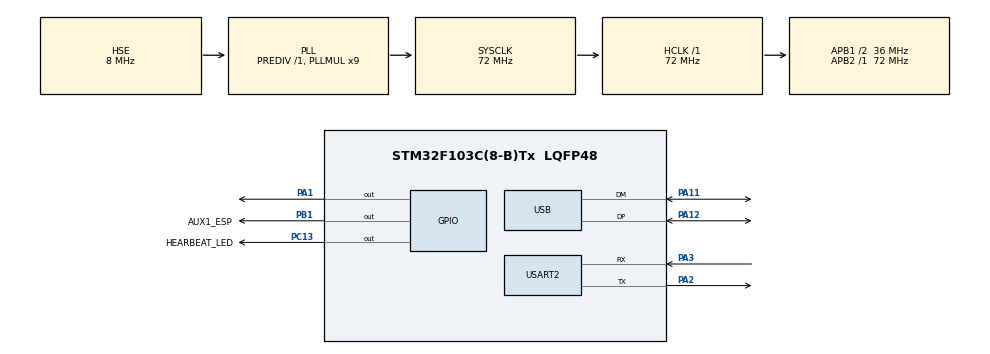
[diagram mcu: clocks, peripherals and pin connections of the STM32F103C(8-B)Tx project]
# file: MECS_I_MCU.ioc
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Mcu.Family=STM32F1
Mcu.Name=STM32F103C(8-B)Tx
Mcu.Package=LQFP48
NVIC.PriorityGroup=NVIC_PRIORITYGROUP_4
NVIC.TIM2_IRQn=true\:0\:0\:false\:false\:true\:true\:true\:true
NVIC.USART2_IRQn=true\:0\:0\:false\:false\:true\:true\:true\:true
NVIC.USB_LP_CAN1_RX0_IRQn=true\:0\:0\:false\:false\:true\:false\:true\:true
PA1.Signal=GPIO_Output
PA11.Mode=Device
PA11.Signal=USB_DM
PA12.Mode=Device
PA12.Signal=USB_DP
PA13.Mode=Serial_Wire
PA13.Signal=SYS_JTMS-SWDIO
PA14.Mode=Serial_Wire
PA14.Signal=SYS_JTCK-SWCLK
PA2.Mode=Asynchronous
PA2.Signal=USART2_TX
PA3.Mode=Asynchronous
PA3.Signal=USART2_RX
PB1.GPIO_Label=AUX1_ESP
PB1.Signal=GPIO_Output
PC13-TAMPER-RTC.GPIO_Label=HEARBEAT_LED
PC13-TAMPER-RTC.Signal=GPIO_Output
PC14-OSC32_IN.Mode=LSE-External-Oscillator
PC14-OSC32_IN.Signal=RCC_OSC32_IN
PC15-OSC32_OUT.Mode=LSE-External-Oscillator
PC15-OSC32_OUT.Signal=RCC_OSC32_OUT
PD0-OSC_IN.Mode=HSE-External-Oscillator
PD0-OSC_IN.Signal=RCC_OSC_IN
PD1-OSC_OUT.Mode=HSE-External-Oscillator
PD1-OSC_OUT.Signal=RCC_OSC_OUT
ProjectManager.HeapSize=0x200
ProjectManager.StackSize=0x400
ProjectManager.TargetToolchain=STM32CubeIDE
RCC.AHBFreq_Value=72000000
RCC.APB1CLKDivider=RCC_HCLK_DIV2
RCC.APB1Freq_Value=36000000
RCC.APB1TimFreq_Value=72000000
RCC.APB2Freq_Value=72000000
RCC.APB2TimFreq_Value=72000000
RCC.HCLKFreq_Value=72000000
RCC.PLLMUL=RCC_PLL_MUL9
RCC.SYSCLKFreq_VALUE=72000000
RCC.SYSCLKSource=RCC_SYSCLKSOURCE_PLLCLK
RCC.USBFreq_Value=48000000
RCC.USBPrescaler=RCC_USBCLKSOURCE_PLL_DIV1_5
TIM2.Period=18000
TIM3.Prescaler=72-1
USART2.VirtualMode=VM_ASYNC
USB_DEVICE.CLASS_NAME_FS=CDC
USB_DEVICE.VirtualMode=Cdc
USB_DEVICE.VirtualModeFS=Cdc_FS
VP_TIM2_VS_ClockSourceINT.Mode=Internal
VP_TIM3_VS_ClockSourceINT.Mode=Internal
VP_USB_DEVICE_VS_USB_DEVICE_CDC_FS.Mode=CDC_FS
board=custom

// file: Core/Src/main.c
/* USER CODE BEGIN Header */
/**
  ******************************************************************************
  * @file           : main.c
  * @author  		: A. Nahuel Medina
  * @brief          : Main program body
  ******************************************************************************
  * @attention
  *
  * Copyright (c) 2023 STMicroelectronics.
  * All rights reserved.
  *
  * This software is licensed under terms that can be found in the LICENSE file
  * in the root directory of this software component.
  * If no LICENSE file comes with this software, it is provided AS-IS.
  *
  ******************************************************************************
  */
/* USER CODE END Header */
#include "main.h"
#include "usb_device.h"

/* USER CODE BEGIN Includes */
#include "usbd_cdc_if.h"
#include "ESP01.h"

#include "util.h"
#include "delay_non_blocking.h"
#include "ONEWire.h"
#include "DS18B20.h"

/* USER CODE END Includes */

/* USER CODE BEGIN PTD */
typedef enum{
	INIT_DS18B20,
	CONFIG1_DS18B20,
	CONFI2_DS18B20,
	RESPONSE_DS18B20
} _eStart;
/* USER CODE END PTD */

TIM_HandleTypeDef htim2;
TIM_HandleTypeDef htim3;

UART_HandleTypeDef huart2;

/* USER CODE BEGIN PV */
/* COMUNICACION CODE BEGIN PV */
volatile _rx rxUSB;
_tx txUSB;
uint8_t bufUSB_Rx[256];
uint8_t bufUSB_Tx[256];
uint8_t bytes_to_send;

/*Comunicacion USART (comunicacion entre el micro y la ESP01)*/
volatile _rx rxUSART;
_tx txUSART;
uint8_t bufUSART_Rx[256];
uint8_t bufUSART_Tx[256];

/*Transmision desde el micro a la pc mediante WIFI*/
_tx txAUX;
uint8_t bufAUX_Tx[256];

_sESP01Handle ESP01Manager;
//Configuracion de valores para conexion UDP
// FACULTAD

const char SSID[]= "FCAL-Personal";
const char PASSWORD[]= "fcal-uner+2019";
const char RemoteIP[]="172.22.243.121";
uint16_t RemotePORT = 30010;
uint16_t LocalPORT = 30001;

//CASA
/*
const char SSID[]= "ANM2";
const char PASSWORD[]= "anm157523";
const char RemoteIP[]="192.168.0.14";
uint16_t RemotePORT = 30010;
uint16_t LocalPORT = 30001;
*/
/* COMUNICACION CODE EDN PV */

/* MANIPULACION DE DATOS Y BANDERAS CODE BEGIN PV */
uint8_t robotMode = IDLE;
_work w;
_flag flag1;
_flag flag2;

_delay_t  waitMode;

uint8_t countERRORS = 0;
int16_t lastTemp = 0;

uint32_t lastTick;
uint32_t elapsedTicks;
uint32_t elapsedTime_us;

//DS18B20
_sOWHandle ow0;
_sDS18B20Handle ds18b20_0;

int16_t tempDS18B20;
/* MANIPULACION DE DATOS Y BANDERAS CODE END PV */

/* HEARTBEAT CODE BEGIN PV */
uint32_t SECUENCE_LED_IDLE = MASK_IDLE;
uint32_t SECUENCE_LED_FOLLOW_LINE = MASK_FOLLOW_LINE;
uint8_t indexHb = 0;
/* HEARTBEAT CODE END PV */

/*Contador para TICKER 1MS*/
uint8_t time10ms;
uint8_t time100ms;
uint8_t time1seg;
uint8_t time2seg;
uint16_t time5seg;

/* VARIABLES ESPECIFICAS SEGUN COMANDO CODE BEGIN PV */
const char FIRMWAREVERSION[] = "20231007_0102";
/* VARIABLES ESPECIFICAS SEGUN COMANDO CODE END PV */
/* USER CODE END PV */

void SystemClock_Config(void);
static void MX_GPIO_Init(void);
static void MX_TIM2_Init(void);
static void MX_USART2_UART_Init(void);
static void MX_TIM3_Init(void);
/* USER CODE BEGIN PFP */

/* COMUNICACION CODE BEGIN PFP */
void OnUSBRx(uint8_t *buf, int length);
void DecodeHeader(_rx *RX, _tx *tx);                           	  //funcion que decodifica cabecera
void DecodeCMD(_rx *RX, _tx *tx);                                 //decodifica comando
void PutBufOnTx(_tx *TX, uint8_t *buf, uint8_t length);           //escribe datos en buffer de transmision
void PutByteOnTx(_tx *TX, uint8_t value);                         //escribe solo un valor en buffer de transmision
void PutHeaderOnTx(_tx *TX, uint8_t id, uint8_t lCmd);            //cabecera en buf de tx
void CalcAndPutCksOnTx(_tx *TX);                                  //calcula checksum
void PutStrOnTx(_tx *TX, const char *str);                        //escribe texto en buf de tx
uint8_t GetByteFromRx (_rx *RX, int8_t pre, int8_t pos);          //lee datos de buf de recepcion
void TransmitUSB();
void TransmitUSART();
/* COMUNICACION CODE END PFP */

/* SET LEDS CODE BEGIN PFP */
void setMode();
void hearbeatTask();
/* SET LEDS CODE END PFP */

/* ESP01 CODE BEGIN PFP */
void CHENState (uint8_t value);
int PutByteOnTxESP01(uint8_t value);
void GetESP01StateChange(_eESP01STATUS newState);
void GetESP01dbg(const char *dbgStr);
/* ESP01 CODE END PFP */

/* COMUNICACION CODE EDN PV */

/* DS18B20 CODE BEGIN PFP */

void Set_Pin_Output (GPIO_TypeDef *GPIOx, uint16_t GPIO_Pin);

void Set_Pin_Input (GPIO_TypeDef *GPIOx, uint16_t GPIO_Pin);

void OneWireSetPinInput(void);

void OneWireSerPinOutput(void);

uint8_t OneWireReadPin(void);

void OneWireWritePin(uint8_t value);

int delay_us(int us);

/* DS18B20 CODE END PFP */

/* USER CODE END PFP */

/* USER CODE BEGIN 0 */

void HAL_TIM_PeriodElapsedCallback(TIM_HandleTypeDef *htim){						//Timer 2 (Se da cada 250us = 42 * 500 / 84Mhz)
	if(htim->Instance == TIM2){
		time10ms--;
		if(!time10ms){
			IS10MS = 1;																//habilita la funcion On1ms() en el main, que maneja todos los tickers
			time10ms = 40;															// 250us * 4 = 1ms
		}
	}
}

void HAL_UART_RxCpltCallback(UART_HandleTypeDef *huart){

	ESP01_WriteRX(bufUSART_Rx[rxUSART.iw]);
	rxUSART.iw++;
	rxUSART.iw &= rxUSART.maskSize;									//Mantiene la circularidad del buffer
	HAL_UART_Receive_IT(&huart2, &rxUSART.buf[rxUSART.iw], 1);		//Lo recibido en el uart1, lo almaceno en rxUSART[], recibo de a 1 byte															//Permite que el procesador haga cosas mas importantes mientras el periferico del USART se encarga de la recepcion

}

void OnUSBRx(uint8_t *myBuf, int length){
	for(int i=0; i<length; i++){
	  	rxUSB.buf[rxUSB.iw++] = myBuf[i];			//Cargo el dato recibido en el USB en el buffer de recepcion USB
	  	rxUSB.iw &= rxUSB.maskSize;           	//Mantiene el buffer circular
	}
	DATAREADY = 1;
}

void DecodeHeader(_rx *RX, _tx *tx){												//Decodifico la cabecera de lo que llegue por USB
    uint8_t i;

    i = RX->iw;                         	//auxiliar para que no cambie valor del indice de escritura mientras recorro el buffer de recepcion

    while(RX->ir != i){
        switch(RX->header){
            case 0:
                if(RX->buf[RX->ir] == 'U'){
                    RX->header = 1;
                    RX->timeout = 5;
                }
            break;
            case 1:
                if(RX->buf[RX->ir] == 'N'){
                    RX->header = 2;
                } else {
                    RX->header = 0;
                    RX->ir--;
                }
            break;
            case 2:
                if(RX->buf[RX->ir] == 'E'){
                    RX->header = 3;
                } else {
                    RX->header = 0;
                    RX->ir--;
                }
            break;
            case 3:
                if(RX->buf[RX->ir] == 'R'){
                    RX->header = 4;
                } else {
                    RX->header = 0;
                    RX->ir--;
                }
            break;
            case 4: //length
                RX->nbytes = RX->buf[RX->ir];
                RX->header = 5;
                RX->nbytesdata = RX->buf[RX->ir]-2;
            break;
            case 5: //token
                if(RX->buf[RX->ir] == ':'){
                    RX->header = 6;
                    RX->iData = RX->ir + 1;     //indice a partir de donde se encuentran los datos del comando
                    RX->iData &= RX->maskSize;
                    RX->cks = 'U' ^ 'N' ^ 'E' ^ 'R' ^ RX->nbytes ^ ':';
                } else {
                    RX->header = 0;
                    RX->ir--;
                }
            break;
            case 6: //datos de comando
                RX->nbytes--;
                if(RX->nbytes > 0){
                    RX->cks ^= RX->buf[RX->ir];
                } else {
                    RX->header = 0;
                    if(RX->cks == RX->buf[RX->ir]) 		//llega al checksum
                        RX->ISCMD = 1;					//es un comando valido
                }
            break;
            default:
                RX->header = 0;
            break;
        }
        RX->ir &= RX->maskSize;
        RX->ir++;
        RX->ir &= RX->maskSize;
    }

}

void DecodeCMD(_rx *RX, _tx *tx){												//Decodifico el comando que llegue por USB
	RX->ISCMD = 0;

    switch(RX->buf[RX->iData]){                 //segun el comando enviado
        case 0xF0:  //ALIVE
            PutHeaderOnTx(tx, 0xF0, 2);
            PutByteOnTx(tx, 0x0D);
            CalcAndPutCksOnTx(tx);
            tx->length = 3;
            break;
        case 0xF1: //firmware
            PutHeaderOnTx(tx, 0xF1, strlen(FIRMWAREVERSION) + 1);
            PutStrOnTx(tx, FIRMWAREVERSION);
            CalcAndPutCksOnTx(tx);
            break;
        case 0xA0:
        	PutHeaderOnTx(tx, 0x12, 5);
        	w.i32 = elapsedTime_us;
        	PutByteOnTx(tx, w.u8[0]);
        	PutByteOnTx(tx, w.u8[1]);
        	PutByteOnTx(tx, w.u8[2]);
        	PutByteOnTx(tx, w.u8[3]);
        	CalcAndPutCksOnTx(tx);
        	break;
        default:
            PutHeaderOnTx(tx, RX->buf[RX->iData], 2);        //Devuelve 0xFF si hay un comando que no se interpretó
            PutByteOnTx(tx, 0xFF);
            CalcAndPutCksOnTx(tx);
        break;
    }
}

void PutBufOnTx(_tx *TX, uint8_t *buf, uint8_t length){								//Pongo buffer en Tx (Sirve para payload)
    uint8_t i;

    for(i=0; i < length; i++){
        TX->buf[TX->iw++] = buf[i];
        TX->iw &= TX->maskSize;
    }
}

void PutByteOnTx(_tx *TX, uint8_t value){											//Coloco byte en buffer de transmision
	TX->buf[TX->iw++] = value;
    TX->iw &= TX->maskSize;
}

void PutHeaderOnTx(_tx *TX, uint8_t id, uint8_t lCmd){								//Coloco cabecera hasta id en buffer de transmision
	TX->buf[TX->iw++] = 'U';
    TX->iw &= TX->maskSize;
    TX->buf[TX->iw++] = 'N';
    TX->iw &= TX->maskSize;
    TX->buf[TX->iw++] = 'E';
    TX->iw &= TX->maskSize;
    TX->buf[TX->iw++] = 'R';
    TX->iw &= TX->maskSize;
    TX->length = lCmd; //largo del comando
    TX->buf[TX->iw++] = lCmd + 1; // lCmd = ID + payload || 1 byte se le suma por el checksum
    TX->iw &= TX->maskSize;
    TX->buf[TX->iw++] = ':';
    TX->iw &= TX->maskSize;
    TX->buf[TX->iw++] = id;
    TX->iw &= TX->maskSize;
}

void CalcAndPutCksOnTx(_tx *TX){													//Calculo checksum y coloco en buffer de transmision
    uint8_t cks, i;

    //recorro el indice y voy guardando el cks
    cks = 0;
    i = TX->length +6;
    i = TX->iw-i;
    i &= TX->maskSize;
    while(i != TX->iw){
        cks ^= TX->buf[i++];
        i &= TX->maskSize;
    }

    TX->buf[TX->iw++] = cks;
    TX->iw &= TX->maskSize;
}

void PutStrOnTx(_tx *TX, const char *str){                  						//Coloco cadena de caracteres en buffer de transmision
    uint8_t i = 0;

    while(str[i]){
        TX->buf[TX->iw++] = str[i++];
        TX->iw &= TX->maskSize;
    }

}

uint8_t GetByteFromRx (_rx *RX, int8_t pre, int8_t pos){							//Obtengo payload del buffer de recepcion
    uint8_t aux;

    RX->iData += pre;
    RX->iData &= RX->maskSize;
    aux = RX->buf[RX->iData];
    RX->iData += pos;
    RX->iData &= RX->maskSize;

    return aux;
}

void TransmitUSB(){
	uint8_t freeBytes;

	freeBytes = 0;
	if(!AUX_USB){
	   freeBytes = 255 - txUSB.ir;							//Calculo cuanto mas puede avanzar mi indice de lectura para enviar el dato
	  AUX_USB = 1;
	}
	if((txUSB.length+7 <= freeBytes) && (bytes_to_send == 0)){	//Si en mi indice de lectura me da para mandar el largo del comando lo mando directo
	  if(USBD_OK == CDC_Transmit_FS(&txUSB.buf[txUSB.ir], txUSB.length+7)){//Envio dato
		  bytes_to_send = 0;											//Cantidad de datos que faltaron enviar
		  txUSB.ir = txUSB.iw;
		  AUX_USB = 0;
	  }
	}else{
	  if((txUSB.length+7 > freeBytes) && (bytes_to_send == 0)){//Si el largo de mi comando no entra en el indice de lectura envio por partes
		  if(USBD_OK == CDC_Transmit_FS(&txUSB.buf[txUSB.ir], freeBytes)){//Envio primera parte del dato
			  txUSB.ir += freeBytes;
			  bytes_to_send = (txUSB.length+7) - freeBytes;				//Cantidad de datos que faltaron enviar
		  }
	  }
	  if(bytes_to_send > 0){
		  if(USBD_OK == CDC_Transmit_FS(&txUSB.buf[txUSB.ir], bytes_to_send)){//Envio dato bytes_to_send que falto enviar
			  bytes_to_send = 0;											//Cantidad de datos que faltaron enviar
			  txUSB.ir = txUSB.iw;
			  AUX_USB = 0;
		  }
	  }
	}
}

void TransmitUSART(){
	uint16_t len;

	len = txUSART.iw - txUSART.ir;
	len &= 0x00FF;
	if(ESP01_Send(txUSART.buf, txUSART.ir, len, 256) == ESP01_SEND_READY)
		txUSART.ir = txUSART.iw;

}

void setMode(){
	if(STARTSTOP){
		STARTSTOP = 0;
		robotMode = IDLE;
		HEARBEAT_STATUS = 0;
	}else{
		STARTSTOP = 1;
		robotMode = FOLLOW_LINE;
		HEARBEAT_STATUS = 1;
	}
}

void hearbeatTask(){
	if(HEARBEAT_STATUS){
		HAL_GPIO_WritePin(HEARBEAT_LED_GPIO_Port, HEARBEAT_LED_Pin, SECUENCE_LED_IDLE & (1<<indexHb));
		indexHb++;
		if(indexHb >= 32){
			indexHb = 0;
		}
	}else{
		HAL_GPIO_WritePin(HEARBEAT_LED_GPIO_Port, HEARBEAT_LED_Pin, SECUENCE_LED_FOLLOW_LINE & (1<<indexHb));
		indexHb++;
		if(indexHb >= 32){
			indexHb = 0;
		}
	}
}

void On10ms(){	//ticker que indica cuando paso 10ms
	time5seg--;
	if(!time5seg){
		IS5SEG = 1;
		time5seg = 500;
	}

	time1seg--;
	if(!time1seg){
		IS1S = 1;
		time1seg = 100;
	}

	time2seg--;
		if(!time2seg){
			IS2SEG = 1;
			time2seg = 200;
		}

	time100ms--;
	if(!time100ms){
		IS100MS = 1;
		time100ms = 10;
		hearbeatTask();
	}

	ESP01_Timeout10ms();

}

void On5s(){	//ticker que indica cuando paso 5s

	PutHeaderOnTx(&txUSART, 0xF0, 2);
	PutByteOnTx(&txUSART, 0x0D);
	CalcAndPutCksOnTx(&txUSART);

	PutHeaderOnTx(&txUSART, 0xA1, 3);
	w.i16[0]= tempDS18B20;
	PutByteOnTx(&txUSART, w.u8[0]);
	PutByteOnTx(&txUSART, w.u8[1]);
	CalcAndPutCksOnTx(&txUSART);

	w.i16[0]= tempDS18B20;
	PutHeaderOnTx(&txUSB, 0xA1, 3);
	PutByteOnTx(&txUSB, w.u8[0]);
	PutByteOnTx(&txUSB, w.u8[1]);
	CalcAndPutCksOnTx(&txUSB);

}

void On2s(){

	PutHeaderOnTx(&txUSB, 0x12, 5);
	w.u32 = elapsedTime_us;
	PutByteOnTx(&txUSB, w.u8[0]);
	PutByteOnTx(&txUSB, w.u8[1]);
	PutByteOnTx(&txUSB, w.u8[2]);
	PutByteOnTx(&txUSB, w.u8[3]);
	CalcAndPutCksOnTx(&txUSB);

	DS18B20_StartReadTemp(&ds18b20_0);

}

void CHENState (uint8_t value){
	HAL_GPIO_WritePin(AUX1_ESP_GPIO_Port, AUX1_ESP_Pin, value);
}

int PutByteOnTxESP01(uint8_t value)
{
	if(__HAL_UART_GET_FLAG(&huart2, UART_FLAG_TXE)){
		USART2->DR = value;
		return 1;
	}
	return 0;
}

void GetESP01StateChange(_eESP01STATUS newState){

	if(newState == ESP01_WIFI_CONNECTED){
		PutStrOnTx(&txUSB, "+&ESPWIFI CONNECTED\n");
	}
	if(newState == ESP01_WIFI_NEW_IP){
		PutStrOnTx(&txUSB, "+&ESPIP: ");
		PutStrOnTx(&txUSB, ESP01_GetLocalIP());
		PutStrOnTx(&txUSB, "\n");
	}
	if(newState == ESP01_UDPTCP_CONNECTED){
		PutStrOnTx(&txUSB, "+&UDP CONNECTED\n");
		//timeOutAliveUDP =10;

	}
	if(newState == ESP01_SEND_OK){
		PutStrOnTx(&txUSB, "+&UDP SEND OK\n");
	}
}

void GetESP01dbg(const char *dbgStr){
	//PutStrOnTx(&txUSB, dbgStr);
}

/*********************************** DS18B20 FUNCTIONS ****************************************/

void Set_Pin_Output (GPIO_TypeDef *GPIOx, uint16_t GPIO_Pin)
{
	GPIO_InitTypeDef GPIO_InitStruct = {0};
	GPIO_InitStruct.Pin = GPIO_Pin;
	GPIO_InitStruct.Mode = GPIO_MODE_OUTPUT_PP;
	GPIO_InitStruct.Speed = GPIO_SPEED_FREQ_LOW;
	HAL_GPIO_Init(GPIOx, &GPIO_InitStruct);
}

void Set_Pin_Input (GPIO_TypeDef *GPIOx, uint16_t GPIO_Pin)
{
	GPIO_InitTypeDef GPIO_InitStruct = {0};
	GPIO_InitStruct.Pin = GPIO_Pin;
	GPIO_InitStruct.Mode = GPIO_MODE_INPUT;
	GPIO_InitStruct.Pull = GPIO_PULLUP;
	HAL_GPIO_Init(GPIOx, &GPIO_InitStruct);
}

void OneWireSetPinInput(void){
	Set_Pin_Input(DS18B20_PORT, DS18B20_PIN);
}

void OneWireSerPinOutput(void){
	Set_Pin_Output(DS18B20_PORT, DS18B20_PIN);
}

uint8_t OneWireReadPin(void){
	return HAL_GPIO_ReadPin (DS18B20_PORT, DS18B20_PIN);
}

void OneWireWritePin(uint8_t value){
	HAL_GPIO_WritePin (DS18B20_PORT, DS18B20_PIN, value);
}

int delay_us(int us)
{
	//__HAL_TIM_SET_COUNTER(&htim3,0);  // set the counter value a 0
	//while (__HAL_TIM_GET_COUNTER(&htim3) < us);  // wait for the counter to reach the us input in the parameter

	return 1;
}

uint32_t overflowCount = 0;
uint32_t lastCount = 0;

void GetElapsedTime(void)
{
	uint32_t currentCount = TIM3->CNT;
	if (currentCount < lastCount) {
		overflowCount++;
	}
	lastCount = currentCount;
	elapsedTime_us = currentCount + overflowCount * TIM3->ARR;

}

static inline int delayBlocking(int time_us){
	uint32_t lastCount, currentCount, auSecondsAux;

	time_us *= (HAL_RCC_GetHCLKFreq()/1000000);
	lastCount = SysTick->VAL;

	while (time_us> 0){
		currentCount = SysTick->VAL;
		auSecondsAux = lastCount - currentCount;

		if(auSecondsAux > SysTick->LOAD)
			auSecondsAux += (SysTick->LOAD+1);
		time_us -= auSecondsAux;
		lastCount = currentCount;
	}

	return 1;
}

/* USER CODE END 0 */

int main(void)
{

  /* MCU Configuration--------------------------------------------------------*/

  /* Reset of all peripherals, Initializes the Flash interface and the Systick. */
  HAL_Init();

  /* USER CODE BEGIN Init */

  /*Flags*/
	flag1.byte = 0;                             				//pongo todos los bits en 0
	flag2.byte = 0;

  //CONFIGURACION DE COMUNICACION
  /*Buffers de recepcion y transmision USB y USART*/

    rxUSB.buf = (uint8_t *)bufUSB_Rx;							//Puntero a bufUSB_Rx
  	rxUSB.ir = 0;
  	rxUSB.iw = 0;
  	rxUSB.maskSize = 0xFF;
  	rxUSB.header = 0;

  	rxUSART.buf = (uint8_t *)bufUSART_Rx;						//Puntero a busUSART_Rx
  	rxUSART.ir = 0;
  	rxUSART.iw = 0;
  	rxUSART.maskSize = 0xFF;
  	rxUSART.header = 0;

  	txAUX.buf = bufAUX_Tx;										//Puntero a bufTx
  	txAUX.ir = 0;
  	txAUX.iw = 0;
  	txAUX.maskSize = 0xFF;

  	txUSB.buf = bufUSB_Tx;										//Puntero a bufUSB_Tx
  	txUSB.ir = 0;
  	txUSB.iw = 0;
  	txUSB.maskSize = 0xFF;

  	txUSART.buf = bufUSART_Tx;									//Puntero a busUSART_Tx
  	txUSART.ir = 0;
  	txUSART.iw = 0;
  	txUSART.maskSize = 0xFF;

  	/*Envio de datos USB*/
  	bytes_to_send = 0;

  	/*Contador para ticker base de 1ms*/
  	time10ms = 40;
  	time5seg = 500;

  	//Configuracion requerida ESP01.h
  	ESP01Manager.aDoCHPD = CHENState;
  	ESP01Manager.aWriteUSARTByte = PutByteOnTxESP01;
  	ESP01Manager.bufRX = bufUSART_Rx;
  	ESP01Manager.iwRX = &txUSART.iw;
  	ESP01Manager.sizeBufferRX = 256;

  /* USER CODE END Init */

  /* Configure the system clock */
  SystemClock_Config();

  /* Initialize all configured peripherals */
  MX_GPIO_Init();
  MX_TIM2_Init();
  MX_USART2_UART_Init();
  MX_USB_DEVICE_Init();
  MX_TIM3_Init();
  /* USER CODE BEGIN 2 */

  //DS18B20
  ow0.DELAYus = &delayBlocking;
  ow0.SETPinInput = &OneWireSetPinInput;
  ow0.SETPinOutput = &OneWireSerPinOutput;
  ow0.ReadPinBit = &OneWireReadPin;
  ow0.WritePinBit = &OneWireWritePin;

  ds18b20_0.OW = &ow0;

  DS18B20_Init(&ds18b20_0, NULL);

  //Inicializacion de DELAYNOBLOKING
  delayConfig(&waitMode, MICROSTOTICKS(500));

  //uint16_t countms = 40;
  //COMUNICACION USB
  CDC_Attach_RxFun(OnUSBRx);
  DATAREADY = 0;
  //END COMUNICACION USB

  //CONFIGURACION UDP
  ESP01_Init(&ESP01Manager);
  ESP01_SetWIFI(SSID, PASSWORD);
  ESP01_StartUDP(RemoteIP, RemotePORT, LocalPORT);
  ESP01_AttachChangeState(GetESP01StateChange);
  ESP01_AttachDebugStr(GetESP01dbg);

  HAL_UART_Receive_IT(&huart2, &rxUSART.buf[rxUSART.iw], 1);			//Se habilita la interrupcion del USART1 (Recibo de a 1 byte)
  //END CONFIGURACION UDP

  HAL_TIM_Base_Start_IT (&htim2);										//Se habilita la interrupcion del timer2
  HAL_TIM_Base_Start(&htim3);
  /* USER CODE END 2 */

  /* Infinite loop */
  while (1)
  {

    /* USER CODE BEGIN 3 */
	  //getElapsedTime_us();
	  GetElapsedTime();
	  ESP01_Task();
	  DS18B20_Task(&ds18b20_0, elapsedTime_us);

	  if(IS10MS){
		  IS10MS = 0;
		  On10ms();
	  }

	  if(IS5SEG){
		  IS5SEG = 0;
		  On5s();
	  }

	  if(IS2SEG){
		  IS2SEG = 0;
		  On2s();
	  }

	  if(rxUSB.ISCMD)                          					//Si se encontro un comando
		  DecodeCMD((_rx *)&rxUSB, (_tx *)&txUSB);

	  if(rxUSB.iw != rxUSB.ir)                   				//Mientras tenga datos en el buffer
		  DecodeHeader((_rx *)&rxUSB, (_tx *)&txUSB);

	  if(txUSB.iw != txUSB.ir)									//Si lo indices del tx son distintos es porque hay algo para enviar
		  TransmitUSB();

	  if(rxUSART.ISCMD)											//Si llego un comando por WIFI lo decodifico
		  DecodeCMD((_rx *)&rxUSART, (_tx *)&txUSART);

	  if(rxUSART.iw != rxUSART.ir)								//Si hay algo para decodificar en el USART
		  DecodeHeader((_rx *)&rxUSART, (_tx *)&txUSART);

	  if(txUSART.iw != txUSART.ir)								//Si hay algo para transmitir por el USART
		  TransmitUSART();

	  /*if(delayRead(&waitMode)){
		  countms--;
		  if(!countms){
			  HAL_GPIO_TogglePin(HEARBEAT_LED_GPIO_Port, HEARBEAT_LED_Pin);
			  countms = 400;
		  }
	  }*/

	  //DS18B20_Task (&ds18020_0, currentus);
	  if(DS18B20_Status(&ds18b20_0)==DS18B20_ST_TEMPOK) {
		  tempDS18B20 = DS18B20_ReadLastTemp(&ds18b20_0);

	  if(DS18B20_Status(&ds18b20_0) == DS18B20_ST_TEMPCRCERROR){

			  tempDS18B20 = DS18B20_ReadLastTemp (&ds18b20_0);
	  }

	 /* w.i8[0] = DS18B20_Status(&ds18b20_0);
	  if(w.i8[0] == DS18B20TEMPREADY || w.i8[0] == DS18B20TEMPERROR){
		  if(w.i8[0] == DS18B20TEMPERROR){
			  countERRORS++;
			  if(countERRORS >= 20){
				  countERRORS = 19;
//				  lastTemp = DS18B20_ReadLastTemp();
			  }
			  lastTemp = DS18B20_ReadLastTemp();
			PutHeaderOnTx(&txUSB, 0xF1, 16);
			PutStrOnTx(&txUSB, "TERROR         ");
			CalcAndPutCksOnTx(&txUSB);

		  }
		  if(w.i8[0] == DS18B20TEMPREADY){
			  lastTemp = DS18B20_ReadLastTemp();
			PutHeaderOnTx(&txUSB, 0xF1, 16);
			PutStrOnTx(&txUSB, "TOK            ");
			CalcAndPutCksOnTx(&txUSB);
			  countERRORS = 0;
		  }
	  }*/
  }}
  /* USER CODE END 3 */
}

void SystemClock_Config(void)
{
  RCC_OscInitTypeDef RCC_OscInitStruct = {0};
  RCC_ClkInitTypeDef RCC_ClkInitStruct = {0};
  RCC_PeriphCLKInitTypeDef PeriphClkInit = {0};

  /** Initializes the RCC Oscillators according to the specified parameters
  * in the RCC_OscInitTypeDef structure.
  */
  RCC_OscInitStruct.OscillatorType = RCC_OSCILLATORTYPE_HSE;
  RCC_OscInitStruct.HSEState = RCC_HSE_ON;
  RCC_OscInitStruct.HSEPredivValue = RCC_HSE_PREDIV_DIV1;
  RCC_OscInitStruct.HSIState = RCC_HSI_ON;
  RCC_OscInitStruct.PLL.PLLState = RCC_PLL_ON;
  RCC_OscInitStruct.PLL.PLLSource = RCC_PLLSOURCE_HSE;
  RCC_OscInitStruct.PLL.PLLMUL = RCC_PLL_MUL9;
  if (HAL_RCC_OscConfig(&RCC_OscInitStruct) != HAL_OK)
  {
    Error_Handler();
  }

  /** Initializes the CPU, AHB and APB buses clocks
  */
  RCC_ClkInitStruct.ClockType = RCC_CLOCKTYPE_HCLK|RCC_CLOCKTYPE_SYSCLK
                              |RCC_CLOCKTYPE_PCLK1|RCC_CLOCKTYPE_PCLK2;
  RCC_ClkInitStruct.SYSCLKSource = RCC_SYSCLKSOURCE_PLLCLK;
  RCC_ClkInitStruct.AHBCLKDivider = RCC_SYSCLK_DIV1;
  RCC_ClkInitStruct.APB1CLKDivider = RCC_HCLK_DIV2;
  RCC_ClkInitStruct.APB2CLKDivider = RCC_HCLK_DIV1;

  if (HAL_RCC_ClockConfig(&RCC_ClkInitStruct, FLASH_LATENCY_2) != HAL_OK)
  {
    Error_Handler();
  }
  PeriphClkInit.PeriphClockSelection = RCC_PERIPHCLK_USB;
  PeriphClkInit.UsbClockSelection = RCC_USBCLKSOURCE_PLL_DIV1_5;
  if (HAL_RCCEx_PeriphCLKConfig(&PeriphClkInit) != HAL_OK)
  {
    Error_Handler();
  }
}

static void MX_TIM2_Init(void)
{

  TIM_ClockConfigTypeDef sClockSourceConfig = {0};
  TIM_MasterConfigTypeDef sMasterConfig = {0};

  htim2.Instance = TIM2;
  htim2.Init.Prescaler = 0;
  htim2.Init.CounterMode = TIM_COUNTERMODE_UP;
  htim2.Init.Period = 18000;
  htim2.Init.ClockDivision = TIM_CLOCKDIVISION_DIV1;
  htim2.Init.AutoReloadPreload = TIM_AUTORELOAD_PRELOAD_DISABLE;
  if (HAL_TIM_Base_Init(&htim2) != HAL_OK)
  {
    Error_Handler();
  }
  sClockSourceConfig.ClockSource = TIM_CLOCKSOURCE_INTERNAL;
  if (HAL_TIM_ConfigClockSource(&htim2, &sClockSourceConfig) != HAL_OK)
  {
    Error_Handler();
  }
  sMasterConfig.MasterOutputTrigger = TIM_TRGO_RESET;
  sMasterConfig.MasterSlaveMode = TIM_MASTERSLAVEMODE_DISABLE;
  if (HAL_TIMEx_MasterConfigSynchronization(&htim2, &sMasterConfig) != HAL_OK)
  {
    Error_Handler();
  }

}

static void MX_TIM3_Init(void)
{

  TIM_ClockConfigTypeDef sClockSourceConfig = {0};
  TIM_MasterConfigTypeDef sMasterConfig = {0};

  htim3.Instance = TIM3;
  htim3.Init.Prescaler = 72-1;
  htim3.Init.CounterMode = TIM_COUNTERMODE_UP;
  htim3.Init.Period = 65535;
  htim3.Init.ClockDivision = TIM_CLOCKDIVISION_DIV1;
  htim3.Init.AutoReloadPreload = TIM_AUTORELOAD_PRELOAD_DISABLE;
  if (HAL_TIM_Base_Init(&htim3) != HAL_OK)
  {
    Error_Handler();
  }
  sClockSourceConfig.ClockSource = TIM_CLOCKSOURCE_INTERNAL;
  if (HAL_TIM_ConfigClockSource(&htim3, &sClockSourceConfig) != HAL_OK)
  {
    Error_Handler();
  }
  sMasterConfig.MasterOutputTrigger = TIM_TRGO_RESET;
  sMasterConfig.MasterSlaveMode = TIM_MASTERSLAVEMODE_DISABLE;
  if (HAL_TIMEx_MasterConfigSynchronization(&htim3, &sMasterConfig) != HAL_OK)
  {
    Error_Handler();
  }

}

static void MX_USART2_UART_Init(void)
{

  huart2.Instance = USART2;
  huart2.Init.BaudRate = 115200;
  huart2.Init.WordLength = UART_WORDLENGTH_8B;
  huart2.Init.StopBits = UART_STOPBITS_1;
  huart2.Init.Parity = UART_PARITY_NONE;
  huart2.Init.Mode = UART_MODE_TX_RX;
  huart2.Init.HwFlowCtl = UART_HWCONTROL_NONE;
  huart2.Init.OverSampling = UART_OVERSAMPLING_16;
  if (HAL_UART_Init(&huart2) != HAL_OK)
  {
    Error_Handler();
  }

}

static void MX_GPIO_Init(void)
{
  GPIO_InitTypeDef GPIO_InitStruct = {0};

  /* GPIO Ports Clock Enable */
  __HAL_RCC_GPIOC_CLK_ENABLE();
  __HAL_RCC_GPIOD_CLK_ENABLE();
  __HAL_RCC_GPIOA_CLK_ENABLE();
  __HAL_RCC_GPIOB_CLK_ENABLE();

  /*Configure GPIO pin Output Level */
  HAL_GPIO_WritePin(HEARBEAT_LED_GPIO_Port, HEARBEAT_LED_Pin, GPIO_PIN_RESET);

  /*Configure GPIO pin Output Level */
  HAL_GPIO_WritePin(GPIOA, GPIO_PIN_1, GPIO_PIN_RESET);

  /*Configure GPIO pin Output Level */
  HAL_GPIO_WritePin(AUX1_ESP_GPIO_Port, AUX1_ESP_Pin, GPIO_PIN_RESET);

  /*Configure GPIO pin : HEARBEAT_LED_Pin */
  GPIO_InitStruct.Pin = HEARBEAT_LED_Pin;
  GPIO_InitStruct.Mode = GPIO_MODE_OUTPUT_PP;
  GPIO_InitStruct.Pull = GPIO_NOPULL;
  GPIO_InitStruct.Speed = GPIO_SPEED_FREQ_LOW;
  HAL_GPIO_Init(HEARBEAT_LED_GPIO_Port, &GPIO_InitStruct);

  /*Configure GPIO pin : PA1 */
  GPIO_InitStruct.Pin = GPIO_PIN_1;
  GPIO_InitStruct.Mode = GPIO_MODE_OUTPUT_PP;
  GPIO_InitStruct.Pull = GPIO_NOPULL;
  GPIO_InitStruct.Speed = GPIO_SPEED_FREQ_LOW;
  HAL_GPIO_Init(GPIOA, &GPIO_InitStruct);

  /*Configure GPIO pin : AUX1_ESP_Pin */
  GPIO_InitStruct.Pin = AUX1_ESP_Pin;
  GPIO_InitStruct.Mode = GPIO_MODE_OUTPUT_PP;
  GPIO_InitStruct.Pull = GPIO_NOPULL;
  GPIO_InitStruct.Speed = GPIO_SPEED_FREQ_LOW;
  HAL_GPIO_Init(AUX1_ESP_GPIO_Port, &GPIO_InitStruct);

}

void Error_Handler(void)
{
  __disable_irq();
  while (1)
  {
  }
}
